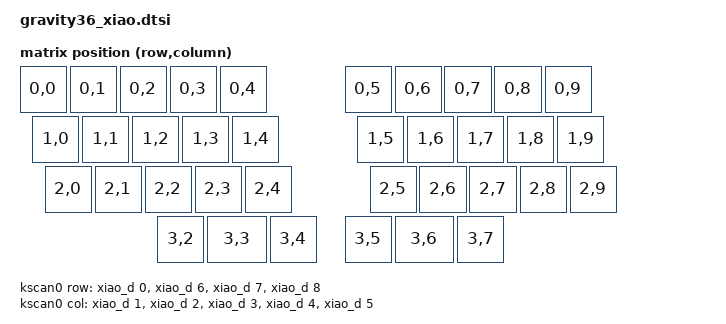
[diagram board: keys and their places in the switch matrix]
#include <dt-bindings/zmk/keys.h>
#include <dt-bindings/zmk/matrix_transform.h>
#include <physical_layouts.dtsi>

/ {
    chosen {
//        zmk,kscan = &kscan0;
//        zmk,matrix_transform = &default_transform;
          zmk,physical-layout = &gravity36_physical_layout;
    };

    gravity36_physical_layout: gravity36_physical_layout {
        compatible = "zmk,physical-layout";
        display-name = "Default";

        kscan = <&kscan0>;
        transform = <&matrix_transform0>;

        keys  //                     w   h    x    y     rot    rx    ry
            = <&key_physical_attrs 100 100    0    0       0     0     0>
            , <&key_physical_attrs 100 100  100    0       0     0     0>
            , <&key_physical_attrs 100 100  200    0       0     0     0>
            , <&key_physical_attrs 100 100  300    0       0     0     0>
            , <&key_physical_attrs 100 100  400    0       0     0     0>
            , <&key_physical_attrs 100 100  650    0       0     0     0>
            , <&key_physical_attrs 100 100  750    0       0     0     0>
            , <&key_physical_attrs 100 100  850    0       0     0     0>
            , <&key_physical_attrs 100 100  950    0       0     0     0>
            , <&key_physical_attrs 100 100 1050    0       0     0     0>
            , <&key_physical_attrs 100 100   25  100       0     0     0>
            , <&key_physical_attrs 100 100  125  100       0     0     0>
            , <&key_physical_attrs 100 100  225  100       0     0     0>
            , <&key_physical_attrs 100 100  325  100       0     0     0>
            , <&key_physical_attrs 100 100  425  100       0     0     0>
            , <&key_physical_attrs 100 100  675  100       0     0     0>
            , <&key_physical_attrs 100 100  775  100       0     0     0>
            , <&key_physical_attrs 100 100  875  100       0     0     0>
            , <&key_physical_attrs 100 100  975  100       0     0     0>
            , <&key_physical_attrs 100 100 1075  100       0     0     0>
            , <&key_physical_attrs 100 100   50  200       0     0     0>
            , <&key_physical_attrs 100 100  150  200       0     0     0>
            , <&key_physical_attrs 100 100  250  200       0     0     0>
            , <&key_physical_attrs 100 100  350  200       0     0     0>
            , <&key_physical_attrs 100 100  450  200       0     0     0>
            , <&key_physical_attrs 100 100  700  200       0     0     0>
            , <&key_physical_attrs 100 100  800  200       0     0     0>
            , <&key_physical_attrs 100 100  900  200       0     0     0>
            , <&key_physical_attrs 100 100 1000  200       0     0     0>
            , <&key_physical_attrs 100 100 1100  200       0     0     0>
            , <&key_physical_attrs 100 100  275  300       0     0     0>
            , <&key_physical_attrs 125 100  375  300       0     0     0>
            , <&key_physical_attrs 100 100  500  300       0     0     0>
            , <&key_physical_attrs 100 100  650  300       0     0     0>
            , <&key_physical_attrs 125 100  750  300       0     0     0>
            , <&key_physical_attrs 100 100  875  300       0     0     0>
            ;
    };

    default_transform: keymap_transform_0 {
        compatible = "zmk,matrix-transform";
        columns = <10>; // 5列(左) + 5列(右) = 10列
        rows = <4>;     // 行数

        map = <
            RC(0,0) RC(0,1) RC(0,2) RC(0,3) RC(0,4)    RC(0,5) RC(0,6) RC(0,7) RC(0,8) RC(0,9)
            RC(1,0) RC(1,1) RC(1,2) RC(1,3) RC(1,4)    RC(1,5) RC(1,6) RC(1,7) RC(1,8) RC(1,9)
            RC(2,0) RC(2,1) RC(2,2) RC(2,3) RC(2,4)    RC(2,5) RC(2,6) RC(2,7) RC(2,8) RC(2,9)
                            RC(3,2) RC(3,3) RC(3,4)    RC(3,5) RC(3,6) RC(3,7)
        >;
    };

    kscan0: kscan {
        compatible = "zmk,kscan-gpio-matrix";
        wakeup-source;
        diode-direction = "col2row";

        col-gpios
            = <&xiao_d 1 GPIO_ACTIVE_HIGH>
            , <&xiao_d 2 GPIO_ACTIVE_HIGH>
            , <&xiao_d 3 GPIO_ACTIVE_HIGH>
            , <&xiao_d 4 GPIO_ACTIVE_HIGH>
            , <&xiao_d 5 GPIO_ACTIVE_HIGH>
            ;

         row-gpios
            = <&xiao_d 0 (GPIO_ACTIVE_HIGH | GPIO_PULL_DOWN)>
            , <&xiao_d 6 (GPIO_ACTIVE_HIGH | GPIO_PULL_DOWN)>
            , <&xiao_d 7 (GPIO_ACTIVE_HIGH | GPIO_PULL_DOWN)>
            , <&xiao_d 8 (GPIO_ACTIVE_HIGH | GPIO_PULL_DOWN)>
            ;

   };

    /* 実際の物理ピンの定義 */
    leds {
        compatible = "gpio-leds";
        led_red: led_red { gpios = <&gpio0 17 GPIO_ACTIVE_LOW>; };
        led_green: led_green { gpios = <&gpio0 18 GPIO_ACTIVE_LOW>; };
        led_blue: led_blue { gpios = <&gpio0 19 GPIO_ACTIVE_LOW>; };
    };

    /* LEDエイリアスの設定 */
    aliases {
        led-red = &led_red;
        led-green = &led_green;
        led-blue = &led_blue;
    };

    /* ウィジェット用の仮想ノード */
    led_widget: led_widget {
        compatible = "zmk,rgbled-widget";
        label = "RGBLED_WIDGET";
    };
};
